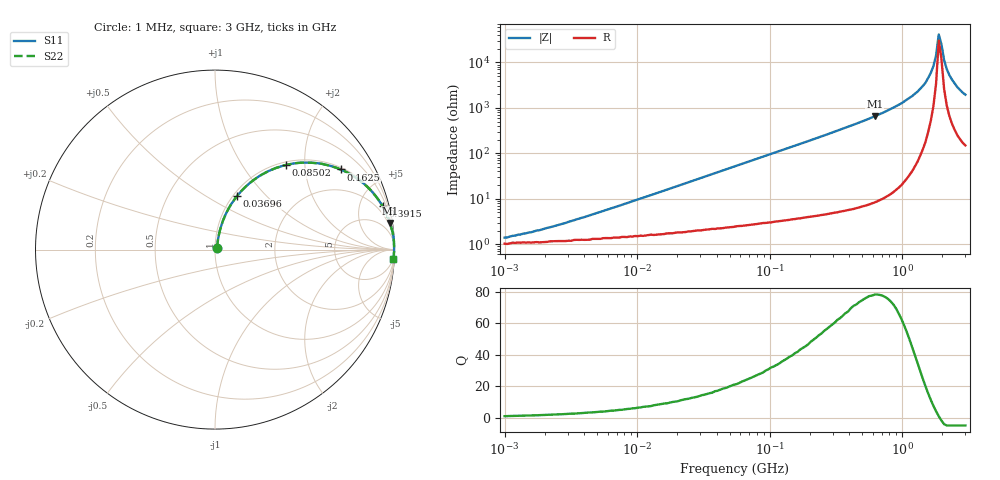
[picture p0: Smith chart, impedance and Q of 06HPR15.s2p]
# MHz S MA R 50
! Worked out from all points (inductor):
!   174 points, 1 MHz to 3 GHz, reference 50 ohm
!   read as one part in series: L = 150 nH near 4.008 MHz
!   highest Q = 78.5 at 622 MHz (marker M1), where L = 167 nH
!   self-resonance near 1.889 GHz
!   S11 on the Smith chart (normalised r, x): 1 MHz: 1.02, +0.02; 36.96 MHz: 1.04, +0.70; 85.02 MHz: 1.06, +1.61; 162.5 MHz: 1.07, +3.08; 391.5 MHz: 1.13, +7.70; 3 GHz: 4, -39
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1  0.014 41.6  0.99 -0.5  0.99 -0.5  0.014 41.6
1.589  0.018 52.9  0.989 -0.8  0.989 -0.8  0.018 52.9
3.827  0.038 68.8  0.987 -2.0  0.987 -2.0  0.038 68.8
14.647  0.136 75.4  0.975 -7.7  0.975 -7.7  0.136 75.4
36.959  0.323 67.6  0.926 -18.8  0.926 -18.8  0.323 67.6
56.054  0.459 60.0  0.867 -27.3  0.867 -27.3  0.459 60.0
85.016  0.616 50.0  0.766 -38.0  0.766 -38.0  0.616 50.0
162.512  0.83 32.5  0.538 -56.1  0.538 -56.1  0.83 32.5
214.526  0.892 25.8  0.435 -63.0  0.435 -63.0  0.892 25.8
391.532  0.964 14.5  0.25 -74.7  0.25 -74.7  0.964 14.5
621.951  0.987 8.7  0.151 -80.6  0.151 -80.6  0.987 8.7
821.013  0.993 6.0  0.105 -83.2  0.105 -83.2  0.993 6.0
1188.891  0.997 3.1  0.055 -85.6  0.055 -85.6  0.997 3.1
1498.431  0.998 1.6  0.028 -85.6  0.028 -85.6  0.998 1.6
1721.606  0.998 0.7  0.012 -81.7  0.012 -81.7  0.998 0.7
1803.153  0.998 0.4  0.006955 -75.7  0.006955 -75.7  0.998 0.4
1888.563  0.998 0.1  0.002421 -42.3  0.002421 -42.3  0.998 0.1
1978.019  0.998 -0.2  0.003967 61.0  0.003967 61.0  0.998 -0.2
2071.713  0.998 -0.5  0.008833 76.1  0.008833 76.1  0.998 -0.5
2272.623  0.997 -1.1  0.019 81.7  0.019 81.7  0.997 -1.1
2611.105  0.996 -2.0  0.035 83.0  0.035 83.0  0.996 -2.0
3000  0.995 -2.9  0.051 82.7  0.051 82.7  0.995 -2.9
